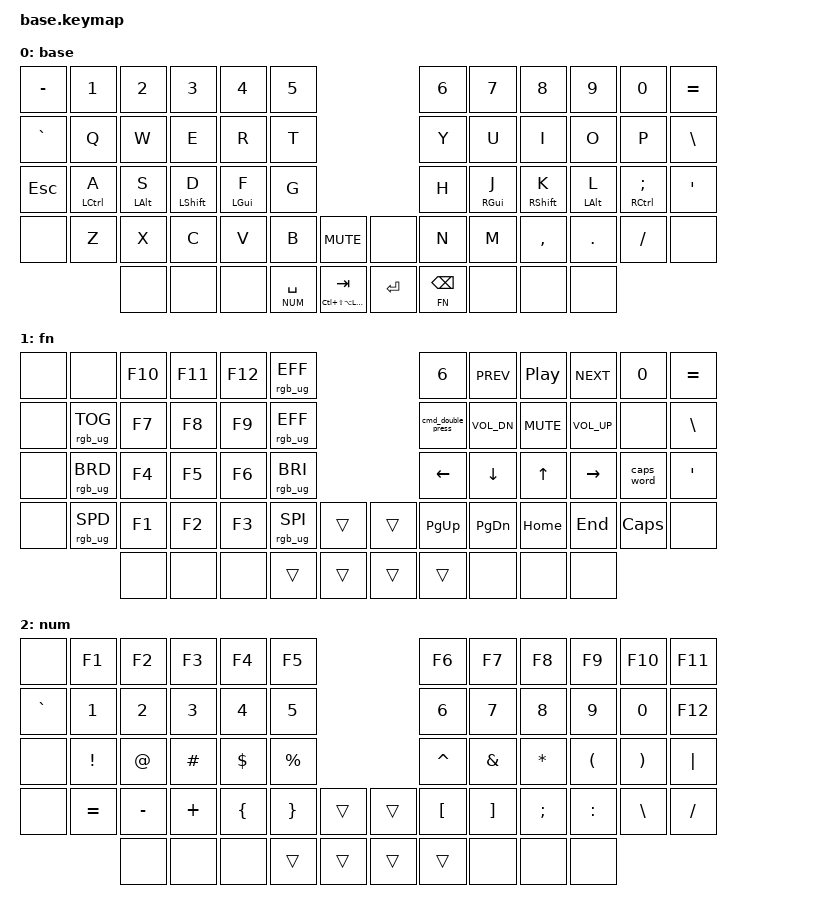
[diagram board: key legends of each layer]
#include <behaviors.dtsi>
#include <behaviors/num_word.dtsi> // requires auto-layer module
#include <dt-bindings/zmk/keys.h>
#if CONFIG_WIRELESS
    #include <dt-bindings/zmk/bt.h>
    #define _BT_SEL_KEYS_ &bt BT_SEL 0 &bt BT_SEL 1 &bt BT_SEL 2 &bt BT_SEL 3 &bt BT_CLR
#else
    #define _BT_SEL_KEYS_ &trans &trans &trans &trans &trans
#endif
#include <dt-bindings/zmk/ext_power.h>
#include <dt-bindings/zmk/rgb.h>

#include "zmk-helpers/helper.h"

#define DEF 0
#define FN 1
#define NUM 2

#include "combos.dtsi"  // requires layer aliases
#include "extra_keys.h"

#define XXX &none
#define ___ &trans

/* Global settings */

#define QUICK_TAP_MS 200

&left_encoder { resolution = <4>; };

&right_encoder { resolution = <4>; };

&sk {  // sticky-key config
    release-after-ms = <900>;  // release after 0.6s
    quick-release;             // no double capitalization when rolling keys
};

&sl {  // sticky-layer config
    ignore-modifiers;          // allow chording sticky mods & layers
};

&lt {  // layer-tap config
    flavor = "balanced";
    tapping-term-ms = <200>;
    quick-tap-ms = <QUICK_TAP_MS>;
};

&mt {
    tapping-term-ms = <200>;
};

/* Homerow mods */
#define KEYS_L LT0 LT1 LT2 LT3 LT4 LM0 LM1 LM2 LM3 LM4 LB0 LB1 LB2 LB3 LB4  // left hand
#define KEYS_R RT0 RT1 RT2 RT3 RT4 RM0 RM1 RM2 RM3 RM4 RB0 RB1 RB2 RB3 RB4  // right hand
#define THUMBS LH2 LH1 LH0 RH0 RH1 RH2                                      // thumbs

#define MAKE_HRM(NAME, HOLD, TAP, TRIGGER_POS) \
    ZMK_HOLD_TAP(NAME, \
        flavor = "balanced"; \
        tapping-term-ms = <200>; \
        quick-tap-ms = <QUICK_TAP_MS>; \
        bindings = <HOLD>, <TAP>; \
        hold-trigger-key-positions = <TRIGGER_POS>; \
        hold-trigger-on-release; \
    )
MAKE_HRM(hml, &kp, &kp, KEYS_R THUMBS)  // left-hand HRMs
MAKE_HRM(hmr, &kp, &kp, KEYS_L THUMBS)  // right-hand HRMs

MAKE_HRM(hml_repeat, &kp, &key_repeat, KEYS_R THUMBS)  // used for HRM-combo
MAKE_HRM(hmr_lpar_lt, &kp, &lpar_lt, KEYS_L THUMBS)    // "    "   "   "
MAKE_HRM(hmr_rpar_gt, &kp, &rpar_gt, KEYS_L THUMBS)    // "    "   "   "

ZMK_BEHAVIOR(hrm, hold_tap,
    flavor = "balanced";
    tapping-term-ms = <200>;
    quick-tap-ms = <125>;
    bindings = <&kp>, <&kp>;
)

/* Nav cluster */

// long-tap action on hold, short-tap action on all interrupts
#define MT_CORE \
    flavor = "tap-preferred"; \
    tapping-term-ms = <220>; \
    quick-tap-ms = <220>; \
    hold-trigger-key-positions = <0>;

&mt { MT_CORE };
ZMK_HOLD_TAP(mt_home, bindings = <&masked_home>, <&kp>; MT_CORE)
ZMK_HOLD_TAP(mt_end, bindings = <&masked_end>, <&kp>; MT_CORE)

#define NAV_LEFT  &mt_home 0   LEFT    // tap: left  | long-tap: beginning of line
#define NAV_RIGHT &mt_end 0    RIGHT   // tap: right | long-tap: end       of line
#define NAV_UP    &mt LC(HOME) UP      // tap: up    | long-tap: beginning of document
#define NAV_DOWN  &mt LC(END)  DOWN    // tap: down  | long-tap: end       of document
#define NAV_BSPC  &mt LC(BSPC) BSPC    // tap: bspc  | long-tap: delete word backward
#define NAV_DEL   &mt LC(DEL)  DEL     // tap: del   | long-tap: delete word forward

// mask CTRL when holding left/right to avoid accidental jumps to beginning/end of document
#define MASK_MODS(NAME, MODS, BINDING) \
    ZMK_MOD_MORPH(NAME, \
        bindings = <BINDING>, <BINDING>; \
        mods = <MODS>; \
    )
MASK_MODS(masked_home, (MOD_LCTL), &kp HOME)
MASK_MODS(masked_end,  (MOD_LCTL), &kp END)

/* Caps-word, num-word and smart-mouse */

// tap: sticky-shift | shift + tap/ double-tap: caps-word | hold: shift
ZMK_MOD_MORPH(smart_shft,
    bindings = <&sk LSHFT>, <&caps_word>;
    mods = <(MOD_LSFT)>;
)
&caps_word {  // mods deactivate caps-word, requires PR #1451
    /delete-property/ ignore-modifiers;
};

// tap: num-word | double-tap: sticky num-layer | hold: num-layer
#define SMART_NUM &smart_num NUM 0
ZMK_HOLD_TAP(smart_num,
    flavor = "balanced";
    tapping-term-ms = <200>;
    quick-tap-ms = <QUICK_TAP_MS>;
    bindings = <&mo>, <&num_dance>;
)
ZMK_TAP_DANCE(num_dance,
    tapping-term-ms = <200>;
    bindings = <&num_word NUM>, <&sl NUM>;  // reverse this for sticky-num on single tap
)

/* Custom behaviors */

// Alt+Tab swapper, requires PR #1366
ZMK_TRI_STATE(swapper,
    bindings = <&kt LALT>, <&kp TAB>, <&kt LALT>;
    ignored-key-positions = <LT2>;
)

// reuse basic mod-morph scheme
#define SIMPLE_MORPH(NAME, MOD, BINDING1, BINDING2) \
    ZMK_MOD_MORPH(NAME, \
        mods = <(MOD_L ## MOD|MOD_R ## MOD)>; \
        bindings = <BINDING1>, <BINDING2>; \
    )

// tap: comma | shift + tap: semicolon | ctrl + shift + tap: <
SIMPLE_MORPH(comma_morph, SFT, &kp COMMA, &comma_inner_morph)
SIMPLE_MORPH(comma_inner_morph, CTL, &kp SEMICOLON, &kp LESS_THAN)

// tap: dot | shift + tap: colon | ctrl + shift + tap: >
SIMPLE_MORPH(dot_morph, SFT, &kp DOT, &dot_inner_morph)
SIMPLE_MORPH(dot_inner_morph, CTL, &kp COLON, &kp GREATER_THAN)

// tap: qmark | shift + tap: excl
SIMPLE_MORPH(qexcl, SFT, &kp QMARK, &kp EXCL)

// tap: left/right parenthesis | shft + tap: less-than/greater-than
SIMPLE_MORPH(lpar_lt, SFT, &kp LPAR, &kp LT)
SIMPLE_MORPH(rpar_gt, SFT, &kp RPAR, &kp GT)

// tap: space | shift + tap: dot -> space -> sticky shift | hold: activate layer
ZMK_HOLD_TAP(lt_spc,
    flavor = "balanced";
    tapping-term-ms = <200>;
    quick-tap-ms = <QUICK_TAP_MS>;
    bindings = <&mo>, <&spc_morph>;
)
SIMPLE_MORPH(spc_morph, SFT, &kp SPACE, &dot_spc)
ZMK_MACRO(dot_spc,
    wait-ms = <0>;
    tap-ms = <5>;
    bindings = <&kp DOT &kp SPACE &sk LSHFT>;
)

// tap: backspace | lshft + tap: delete | rshft + tap: shift-delete
ZMK_MOD_MORPH(bs_del,
    bindings = <&kp BSPC>, <&kp DEL>;
    mods = <(MOD_LSFT|MOD_RSFT)>;
    keep-mods = <MOD_RSFT>;
)

// tap: copy | double-tap: cut
ZMK_TAP_DANCE(copy_cut,
    tapping-term-ms = <200>;
    bindings = <&kp LC(INS)>, <&kp LC(X)>;
)

// Windows sleep key
ZMK_MACRO(win_sleep,
    wait-ms = <500>;
    tap-ms = <50>;
    bindings = <&kp LG(X) &kp U &kp S>;
)

// Double CMD
ZMK_MACRO(cmd_double_press,
    wait-ms = <10>;
    tap-ms = <10>;
    bindings = <&kp LGUI &kp LGUI>;
)

// Double CMD
ZMK_MACRO(hyper,
    bindings = <
        &kp LCTL
        &kp LSHIFT
        &kp LALT
        &kp LGUI
    >;
)

// misc aliases
#define CANCEL      &kp K_CANCEL             // cancel caps-word, num-word and smart-mouse
#define DSK_PREV    &hmr LCTRL LG(LC(LEFT))   // previous desktop
#define DSK_NEXT    &hmr LALT LG(LC(RIGHT)) // next     desktop
#define PIN_WIN     &kp LG(LC(LS(Q)))        // pin window across desktops
#define PIN_APP     &kp LG(LC(LS(A)))        // pin application across desktops
#define DSK_MGR     &kp LA(GRAVE)            // desktop manager
#define VOL_DOWN    &hmr RSHFT C_VOL_DN

#define HYPER_TAB &mt LC(LS(LA(LGUI))) TAB

/* Keymap */

/* ZMK_CONDITIONAL_LAYER(sys, FN NUM, SYS)  // FN + NUM --> SYS */

ZMK_LAYER(base,
//╭─────────────┬─────────────┬─────────────┬─────────────┬─────────────┬─────────────╮                  ╭─────────────┬─────────────┬─────────────┬─────────────┬─────────────┬─────────────╮
    &kp MINUS     &kp N1        &kp N2        &kp N3        &kp N4        &kp N5                           &kp N6        &kp N7        &kp N8        &kp N9        &kp N0        &kp EQUAL
//├─────────────┼─────────────┼─────────────┼─────────────┼─────────────┼─────────────┤                  ├─────────────┼─────────────┼─────────────┼─────────────┼─────────────┼─────────────┤
    &kp GRAVE     &kp Q         &kp W         &kp E         &kp R         &kp T                            &kp Y         &kp U         &kp I         &kp O         &kp P         &kp BACKSLASH
//├─────────────┼─────────────┼─────────────┼─────────────┼─────────────┼─────────────┤                  ├─────────────┼─────────────┼─────────────┼─────────────┼─────────────┼─────────────┤
    &kp ESC       &hml LCTRL A  &hml LALT S   &hml LSHFT D  &hml LGUI F   &kp G                            &kp H         &hmr RGUI J   &hmr RSHFT K  &hmr LALT L   &hmr RCTRL SEMI &kp SQT
//├─────────────┼─────────────┼─────────────┼─────────────┼─────────────┼─────────────┼───────╮ ╭────────┼─────────────┼─────────────┼─────────────┼─────────────┼─────────────┼─────────────┤
    XXX           &kp Z         &kp X         &kp C         &kp V         &kp B         &kp C_MUTE XXX     &kp N         &kp M         &kp COMMA     &kp DOT       &kp SLASH     XXX
//├─────────────┼─────────────┼─────────────┴─────────────┼─────────────┼─────────────┼───────┤ ├────────┼─────────────┼─────────────┼─────────────┴───────────────────────────┼─────────────┤
                                XXX           XXX           XXX           &lt NUM SPACE  HYPER_TAB  &kp ENTER &lt FN BSPC      XXX           XXX           XXX
//                            ╰─────────────┴─────────────┴─────────────┴─────────────┴───────╯ ╰────────┴─────────────┴─────────────┴─────────────┴─────────────╯
, &inc_dec_kp C_VOL_DN C_VOL_UP &inc_dec_kp PG_UP PG_DN
)

ZMK_LAYER(fn,
//╭─────────────┬─────────────┬─────────────┬─────────────┬─────────────┬─────────────╮                  ╭─────────────┬─────────────┬─────────────┬─────────────┬─────────────┬─────────────╮
    XXX           XXX           &kp F10       &kp F11       &kp F12       &rgb_ug RGB_EFF                  &kp N6        &kp C_PREV    &kp C_PP      &kp C_NEXT    &kp N0        &kp EQUAL
//├─────────────┼─────────────┼─────────────┼─────────────┼─────────────┼─────────────┤                  ├─────────────┼─────────────┼─────────────┼─────────────┼─────────────┼─────────────┤
    XXX           &rgb_ug RGB_TOG &kp F7      &kp F8        &kp F9        &rgb_ug RGB_EFF                  &cmd_double_press &kp C_VOL_DN  &kp C_MUTE    &kp C_VOL_UP  XXX           &kp BACKSLASH
//├─────────────┼─────────────┼─────────────┼─────────────┼─────────────┼─────────────┤                  ├─────────────┼─────────────┼─────────────┼─────────────┼─────────────┼─────────────┤
    XXX           &rgb_ug RGB_BRD &kp F4      &kp F5        &kp F6        &rgb_ug RGB_BRI                  &kp LEFT      &kp DOWN      &kp UP        &kp RIGHT     &caps_word    &kp SQT
//├─────────────┼─────────────┼─────────────┼─────────────┼─────────────┼─────────────┼───────╮ ╭────────┼─────────────┼─────────────┼─────────────┼─────────────┼─────────────┼─────────────┤
    XXX           &rgb_ug RGB_SPD &kp F1      &kp F2        &kp F3        &rgb_ug RGB_SPI ___      ___     &kp PG_UP     &kp PG_DN     &kp HOME      &kp END       &kp CAPS      XXX
//├─────────────┼─────────────┼─────────────┴─────────────┼─────────────┼─────────────┼───────┤ ├────────┼─────────────┼─────────────┼─────────────┴───────────────────────────┼─────────────┤
                                XXX           XXX           XXX            ___           ___      ___      ___      XXX           XXX           XXX
//                            ╰─────────────┴─────────────┴─────────────┴─────────────┴───────╯ ╰────────┴─────────────┴─────────────┴─────────────┴─────────────╯
)

ZMK_LAYER(num,
//╭─────────────┬─────────────┬─────────────┬─────────────┬─────────────┬─────────────╮                  ╭─────────────┬─────────────┬─────────────┬─────────────┬─────────────┬─────────────╮
    XXX           &kp F1        &kp F2        &kp F3        &kp F4        &kp F5                           &kp F6        &kp F7        &kp F8        &kp F9        &kp F10       &kp F11
//├─────────────┼─────────────┼─────────────┼─────────────┼─────────────┼─────────────┤                  ├─────────────┼─────────────┼─────────────┼─────────────┼─────────────┼─────────────┤
    &kp GRAVE     &kp N1        &kp N2        &kp N3        &kp N4        &kp N5                           &kp N6        &kp N7        &kp N8        &kp N9        &kp N0        &kp F12
//├─────────────┼─────────────┼─────────────┼─────────────┼─────────────┼─────────────┤                  ├─────────────┼─────────────┼─────────────┼─────────────┼─────────────┼─────────────┤
    XXX           &kp EXCL      &kp AT        &kp HASH      &kp DOLLAR    &kp PERCENT                      &kp CARET     &kp AMPS      &kp STAR      &kp LPAR      &kp RPAR      &kp PIPE
//├─────────────┼─────────────┼─────────────┼─────────────┼─────────────┼─────────────┼───────╮ ╭────────┼─────────────┼─────────────┼─────────────┼─────────────┼─────────────┼─────────────┤
    XXX           &kp EQUAL     &kp MINUS     &kp PLUS      &kp LBRC      &kp RBRC       ___      ___      &kp LBKT      &kp RBKT      &kp SEMI      &kp COLON     &kp BSLH      &kp SLASH
//├─────────────┼─────────────┼─────────────┴─────────────┼─────────────┼─────────────┼───────┤ ├────────┼─────────────┼─────────────┼─────────────┴───────────────────────────┼─────────────┤
                                XXX           XXX           XXX           ___            ___      ___      ___      XXX           XXX           XXX
//                            ╰─────────────┴─────────────┴─────────────┴─────────────┴───────╯ ╰────────┴─────────────┴─────────────┴─────────────┴─────────────╯
)

/* vim: set ft=c tw=174: */
